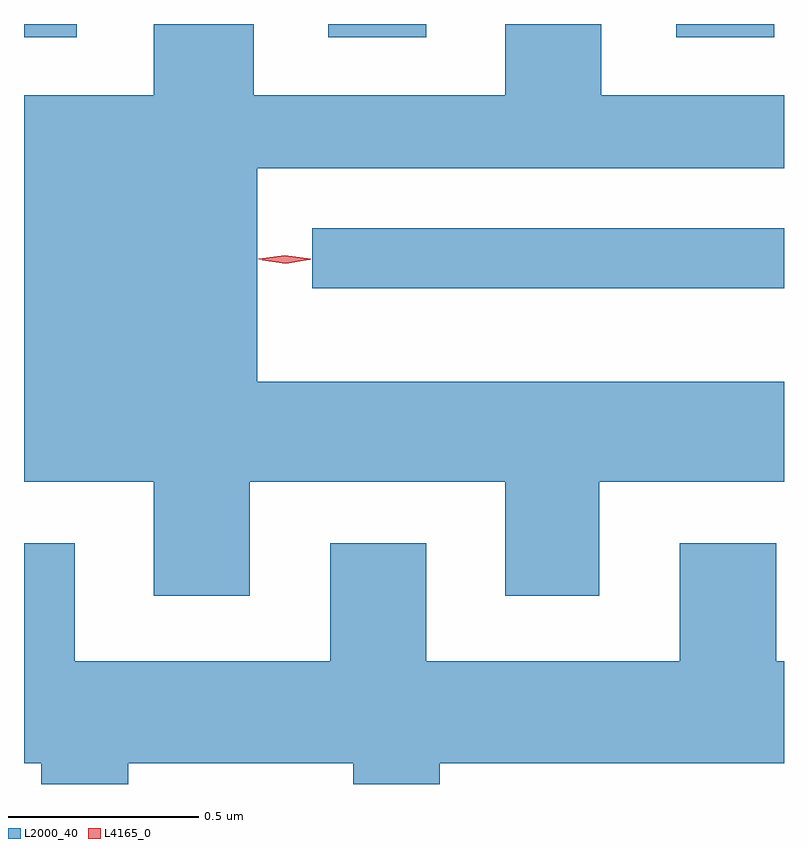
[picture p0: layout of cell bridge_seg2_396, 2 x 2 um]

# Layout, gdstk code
import gdstk
lib = gdstk.Library(unit=1e-6, precision=1e-09)
def R(c, l, rs):  # rectangles x0, y0, x1, y1
    for r in rs: c.add(gdstk.rectangle(r[:2], r[2:], *l))
def P(c, l, *ps):  # polygons
    for p in ps: c.add(gdstk.Polygon(p, *l))
L2000_40 = (2000, 40)
L4165_0 = (4165, 0)

bridge_seg2_396 = lib.new_cell('bridge_seg2_396')
R(bridge_seg2_396, L2000_40, [(602.803,1040.686,604.045,1040.844), (602.045,1041.346,602.184,1041.381), (602.846,1041.346,603.104,1041.381), (603.761,1041.346,604.019,1041.381)])
P(bridge_seg2_396, L2000_40, [(602.639,1040.176),(603.311,1040.176),(603.311,1039.876),(603.559,1039.876),(603.559,1040.176),(604.045,1040.176),(604.045,1040.439),(602.659,1040.439),(602.659,1041.001),(604.045,1041.001),(604.045,1041.194),(603.564,1041.194),(603.564,1041.381),(603.311,1041.381),(603.311,1041.194),(602.649,1041.194),(602.649,1041.381),(602.386,1041.381),(602.386,1041.194),(602.045,1041.194),(602.045,1040.176),(602.386,1040.176),(602.386,1039.876),(602.639,1039.876)],
  [(602.319,1039.436),(602.911,1039.436),(602.911,1039.381),(603.139,1039.381),(603.139,1039.436),(604.045,1039.436),(604.045,1039.704),(604.024,1039.704),(604.024,1040.014),(603.771,1040.014),(603.771,1039.704),(603.104,1039.704),(603.104,1040.014),(602.851,1040.014),(602.851,1039.704),(602.179,1039.704),(602.179,1040.014),(602.045,1040.014),(602.045,1039.436),(602.091,1039.436),(602.091,1039.381),(602.319,1039.381)])
P(bridge_seg2_396, L4165_0, [(602.731,1040.753),(602.663,1040.762),(602.662,1040.763),(602.663,1040.763),(602.731,1040.773),(602.8,1040.763),(602.8,1040.763),(602.8,1040.762)],
  [(602.734,1040.75),(602.672,1040.759),(602.672,1040.76),(602.672,1040.76),(602.734,1040.77),(602.796,1040.761),(602.797,1040.76),(602.796,1040.76)])

lib.write_gds('bridge_seg2_396.gds')
